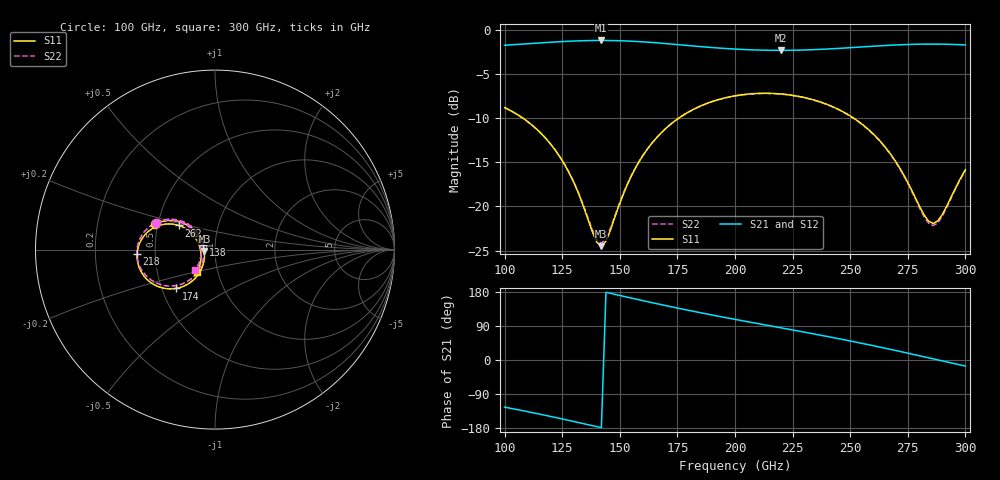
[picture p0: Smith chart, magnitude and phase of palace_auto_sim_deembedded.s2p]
! Created with skrf 1.11.0 (http://scikit-rf.org).
# GHz S DB R 50.0
!freq dBS11 angS11 dBS21 angS21 dBS12 angS12 dBS22 angS22
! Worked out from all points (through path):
!   101 points, 100 GHz to 300 GHz, reference 50 ohm
!   highest |S21| = -1.22 dB at 142 GHz (marker M1); lowest = -2.3 dB at 220 GHz (marker M2)
!   group delay of S21, straight-line fit = 3.43 ps
!   lowest |S11| = -24.5 dB at 142 GHz (marker M3), VSWR 1.13, Z = 44.4 - j0.7 ohm
!   |S11| at or under -10 dB: 107.9 GHz to 175.6 GHz (67.72 GHz wide, 47.8 % of centre); 251.5 GHz to end of sweep
!   |S22| runs from -24.2 to -7.2 dB; largest |S21 - S12| = 9.4e-14
!   S11 on the Smith chart (normalised r, x): 100 GHz: 0.48, +0.16; 138 GHz: 0.87, +0.05; 174 GHz: 0.59, -0.28; 218 GHz: 0.39, -0.02; 262 GHz: 0.64, +0.18; 300 GHz: 0.79, -0.20
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100  -8.81 157.0  -1.75 -124.4  -1.75 -124.4  -8.81 155.5
120  -12.95 139.5  -1.42 -149.1  -1.42 -149.1  -12.94 137.9
128  -16.19 136.9  -1.30 -159.6  -1.30 -159.6  -16.15 135.3
134  -19.83 142.4  -1.25 -167.7  -1.25 -167.7  -19.72 141.0
138  -22.81 156.9  -1.22 -173.2  -1.22 -173.2  -22.58 155.5
142  -24.49 -172.4  -1.22 -178.7  -1.22 -178.7  -24.15 -175.1
144  -23.91 -155.6  -1.22 178.6  -1.22 178.6  -23.62 -159.0
156  -16.03 -123.9  -1.31 162.1  -1.31 162.1  -16.00 -127.6
168  -11.66 -129.8  -1.53 146.1  -1.53 146.1  -11.66 -133.4
174  -10.30 -135.0  -1.66 138.4  -1.66 138.4  -10.31 -138.5
186  -8.52 -146.3  -1.93 123.6  -1.93 123.6  -8.54 -150.0
200  -7.48 -159.7  -2.19 107.3  -2.19 107.3  -7.49 -163.6
218  -7.23 -176.6  -2.33 87.1  -2.33 87.1  -7.25 179.2
220  -7.27 -178.5  -2.33 84.9  -2.33 84.9  -7.29 177.3
234  -7.93 168.7  -2.26 69.1  -2.26 69.1  -7.95 164.2
250  -9.75 154.7  -2.03 50.2  -2.03 50.2  -9.78 149.8
262  -12.32 146.2  -1.84 35.2  -1.84 35.2  -12.36 141.1
268  -14.24 144.3  -1.75 27.4  -1.75 27.4  -14.30 138.9
282  -20.93 165.9  -1.63 8.6  -1.63 8.6  -21.12 160.3
286  -21.92 -171.9  -1.63 3.1  -1.63 3.1  -22.16 -177.1
290  -20.90 -149.8  -1.64 -2.4  -1.64 -2.4  -21.09 -154.5
300  -15.83 -129.0  -1.72 -16.0  -1.72 -16.0  -15.90 -133.9
